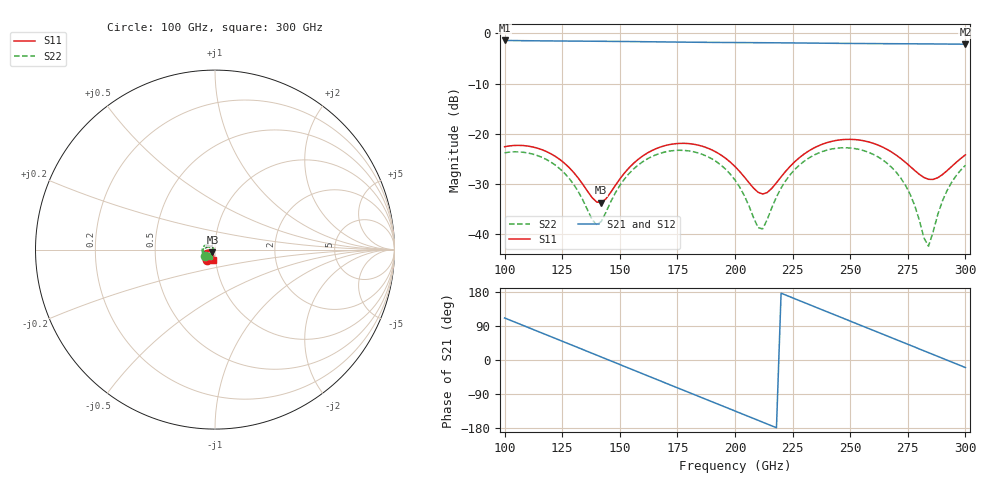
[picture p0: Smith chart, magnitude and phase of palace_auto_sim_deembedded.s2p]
! Created with skrf 1.11.0 (http://scikit-rf.org).
# GHz S DB R 50.0
!freq dBS11 angS11 dBS21 angS21 dBS12 angS12 dBS22 angS22
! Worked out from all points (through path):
!   101 points, 100 GHz to 300 GHz, reference 50 ohm
!   highest |S21| = -1.39 dB at 100 GHz (marker M1); lowest = -2.1 dB at 300 GHz (marker M2)
!   group delay of S21, straight-line fit = 6.82 ps
!   lowest |S11| = -33.7 dB at 142 GHz (marker M3), VSWR 1.04, Z = 48.6 - j1.44 ohm
!   |S11| at or under -10 dB: start of sweep to end of sweep
!   |S22| runs from -42.4 to -22.8 dB; largest |S21 - S12| = 9.7e-14
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100  -22.60 -128.2  -1.39 110.9  -1.39 110.9  -23.81 -147.1
108  -22.36 -143.9  -1.43 91.3  -1.43 91.3  -23.70 -165.1
116  -23.15 -158.7  -1.47 71.7  -1.47 71.7  -24.68 177.5
126  -25.90 -173.3  -1.50 47.2  -1.50 47.2  -27.88 159.2
134  -30.14 -173.3  -1.53 27.5  -1.53 27.5  -33.28 156.7
138  -32.77 -160.4  -1.54 17.6  -1.54 17.6  -37.15 174.7
142  -33.74 -134.1  -1.56 7.8  -1.56 7.8  -37.50 -144.3
154  -26.81 -103.6  -1.61 -21.8  -1.61 -21.8  -27.96 -124.1
168  -22.60 -121.6  -1.68 -56.2  -1.68 -56.2  -23.84 -150.1
184  -22.28 -149.1  -1.75 -95.4  -1.75 -95.4  -23.84 175.3
200  -26.55 -167.6  -1.81 -134.6  -1.81 -134.6  -29.25 146.4
210  -31.69 -146.3  -1.83 -159.1  -1.83 -159.1  -38.76 175.4
212  -32.04 -134.9  -1.84 -164.0  -1.84 -164.0  -39.00 -158.2
222  -27.50 -100.9  -1.87 171.4  -1.87 171.4  -29.38 -123.7
234  -22.91 -108.4  -1.92 141.9  -1.92 141.9  -24.34 -143.8
244  -21.34 -123.0  -1.96 117.4  -1.96 117.4  -22.90 -165.2
252  -21.17 -135.4  -1.99 97.8  -1.99 97.8  -22.97 177.0
268  -23.67 -155.3  -2.04 58.6  -2.04 58.6  -26.72 143.2
276  -26.52 -155.0  -2.06 39.0  -2.06 39.0  -32.09 132.4
284  -29.10 -134.6  -2.08 19.4  -2.08 19.4  -42.45 -166.0
292  -27.40 -108.1  -2.11 -0.3  -2.11 -0.3  -31.38 -119.4
300  -24.22 -103.0  -2.14 -19.9  -2.14 -19.9  -26.31 -131.2
